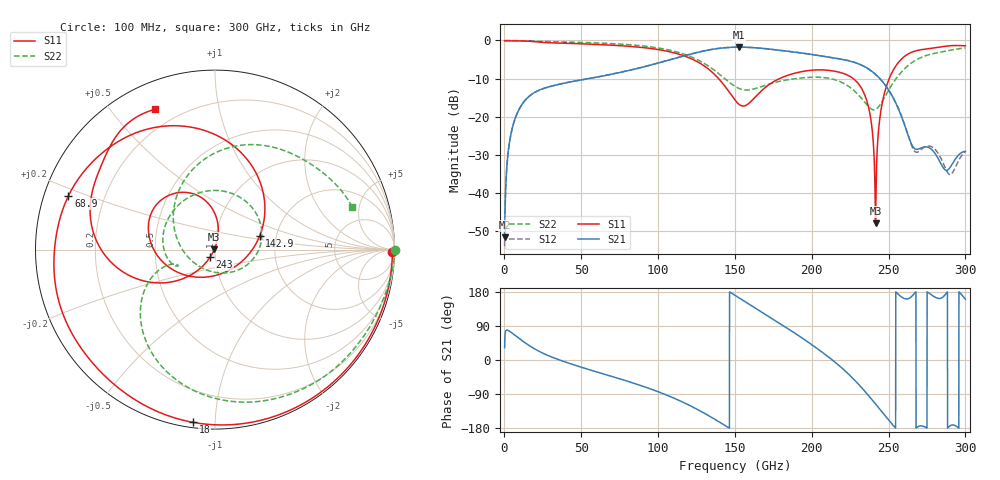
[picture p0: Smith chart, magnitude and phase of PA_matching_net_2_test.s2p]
! Created with skrf (http://scikit-rf.org).
# Hz S RI R 50.0
!freq ReS11 ImS11 ReS21 ImS21 ReS12 ImS12 ReS22 ImS22
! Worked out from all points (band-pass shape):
!   3000 points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, 100 MHz to 300 GHz, reference 50 ohm
!   highest |S21| = -1.76 dB at 152.7 GHz (marker M1); lowest = -51.7 dB at 100 MHz (marker M2)
!   |S21| within 3 dB of the highest: 110.5 GHz to 216.7 GHz (106.2 GHz wide, 64.9 % of centre)
!   lowest |S11| = -48.0 dB at 241.5 GHz (marker M3), VSWR 1.01, Z = 49.6 + j0.144 ohm
!   |S11| at or under -10 dB: 139.3 GHz to 179.1 GHz (39.72 GHz wide, 24.9 % of centre); 227 GHz to 250.4 GHz (23.47 GHz wide, 9.83 % of centre)
!   |S22| runs from -18.2 to 0.0 dB; largest |S21 - S12| = 0.008
!   S11 on the Smith chart (normalised r, x): 100 MHz: open; 18 GHz: 0.03, -0.88; 68.9 GHz: 0.07, +0.18; 142.9 GHz: 1.64, +0.26; 243 GHz: 0.94, -0.08; 300 GHz: 0.11, +0.65
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1e8  0.9886 -0.0109  0.00219 0.0014  0.0014 0.00142  1 -0.0016
2.2e9  0.9601 -0.2369  0.0063 0.0305  0.00559 0.0308  0.9992 -0.0351
4.7e9  0.8628 -0.4846  0.0203 0.062  0.0199 0.0627  0.9951 -0.0744
1.8e10  -0.122 -0.9625  0.1657 0.1088  0.166 0.108  0.9431 -0.2619
5.01e10  -0.8972 -0.1032  0.2872 -0.1001  0.287 -0.1001  0.6959 -0.6362
6.89e10  -0.8171 0.2985  0.2655 -0.2394  0.2668 -0.2397  0.4492 -0.7937
1.001e11  -0.3399 0.6797  0.0543 -0.5026  0.0543 -0.505  -0.1085 -0.7896
1.239e11  0.1614 0.5233  -0.41 -0.5468  -0.4129 -0.5479  -0.4119 -0.4094
1.429e11  0.2486 0.0751  -0.7911 -0.1228  -0.7917 -0.1202  -0.3035 -0.1077
1.501e11  0.1516 -0.064  -0.8048 0.133  -0.8047 0.1349  -0.2363 -0.0812
1.527e11  0.1054 -0.0993  -0.7851 0.2254  -0.785 0.2272  -0.2199 -0.0816
1.762e11  -0.2865 -0.0731  -0.1828 0.733  -0.1826 0.7326  -0.2819 -0.00841
2.001e11  -0.3595 0.1915  0.5 0.4225  0.5001 0.4222  -0.0671 0.3221
2.165e11  -0.2333 0.311  0.5702 -0.103  0.5729 -0.1026  0.2434 0.1727
2.316e11  -0.0296 0.2481  0.1718 -0.4507  0.1704 -0.4522  0.1483 -0.1046
2.376e11  0.0186 0.1146  -0.0498 -0.4111  -0.0506 -0.4105  0.022 -0.1297
2.415e11  -0.00369 0.00145  -0.1574 -0.3231  -0.1569 -0.3226  -0.0658 -0.1052
2.43e11  -0.0273 -0.042  -0.1855 -0.2809  -0.1847 -0.2807  -0.098 -0.0866
2.501e11  -0.245 -0.1804  -0.2074 -0.0802  -0.2078 -0.0819  -0.2137 0.0667
2.673e11  -0.6959 0.2106  -0.0376 0.00138  -0.0345 0.0018  0.0148 0.5454
2.9e11  -0.5011 0.6897  -0.0213 -0.00238  -0.0172 0.00152  0.6154 0.4166
3e11  -0.3369 0.7818  -0.0329 0.0117  -0.0346 0.00396  0.765 0.2354
